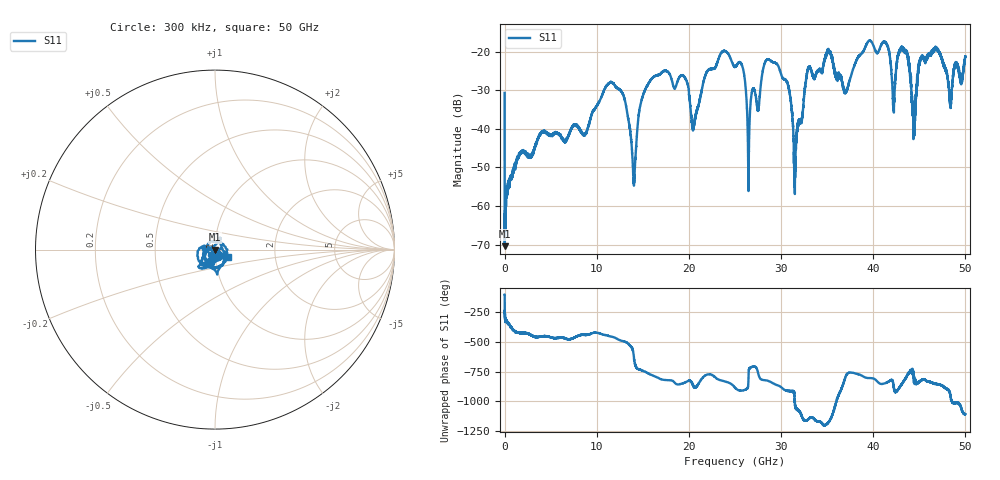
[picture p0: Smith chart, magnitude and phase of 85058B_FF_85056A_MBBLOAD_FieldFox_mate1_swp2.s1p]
!Created with skrf (http://scikit-rf.org).
# Hz S RI R 50.0
!freq ReS11 ImS11
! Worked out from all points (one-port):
!   10001 points, 300 kHz to 50 GHz, reference 50 ohm
!   lowest |S11| = -70.4 dB at 20.3 MHz (marker M1), VSWR 1.00, Z = 50 + j0.0239 ohm
!   |S11| at or under -10 dB: start of sweep to end of sweep
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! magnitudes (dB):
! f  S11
! 300 kHz  -30.7
! 20.3 MHz  -70.4
! 255.3 MHz  -54.8
! 1.785 GHz  -46.3
! 6.25 GHz  -42.3
! 12.5 GHz  -29.8
! 14.04 GHz  -54.7
! 15.44 GHz  -28.9
! 18.75 GHz  -27.8
! 20.5 GHz  -39.2
! 22.04 GHz  -25.0
! 25 GHz  -23.9
! 25.86 GHz  -24.4
! 26.49 GHz  -49.5
! 28.29 GHz  -22.6
! 29.52 GHz  -23.1
! 31.25 GHz  -37.5
! 35.04 GHz  -20.1
! 37.5 GHz  -27.0
! 39.57 GHz  -17.1
! 41.46 GHz  -18.1
! 42.2 GHz  -35.0
! 43.75 GHz  -21.0
! 44.41 GHz  -37.4
! 45.26 GHz  -21.4
! 47 GHz  -19.7
! 48.36 GHz  -34.1
! 50 GHz  -21.2
